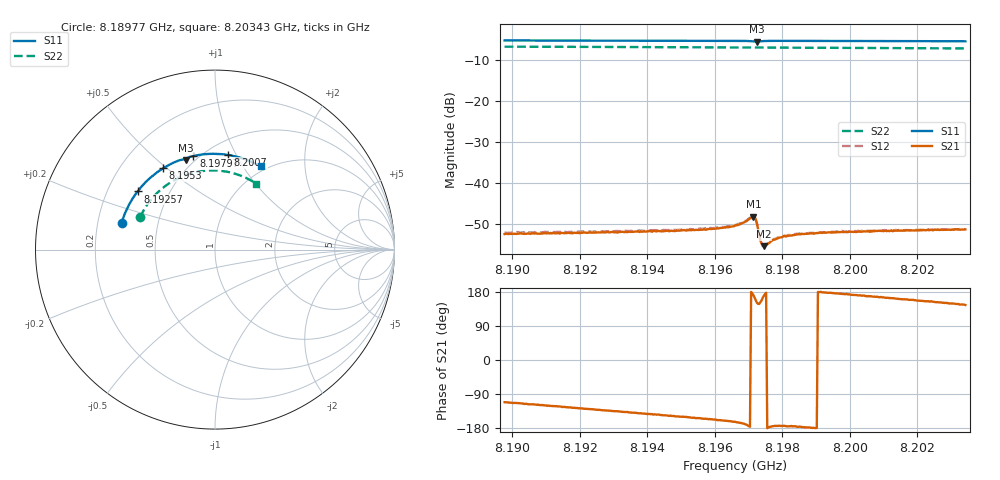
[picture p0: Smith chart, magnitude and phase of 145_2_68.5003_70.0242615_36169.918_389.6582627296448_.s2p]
#  HZ  S  RI  R  50.00
! Rohde & Schwarz Vector Network Analyzer
! Rohde-Schwarz,ZNB20-2Port,1311601062101988,3.16
! Created: UTC 3/20/2024, 4:55:02 PM
! freq[Hz]  re:S11  im:S11  re:S21  im:S21  re:S12  im:S12  re:S22  im:S22
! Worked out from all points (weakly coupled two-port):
!   401 points, 8.18977 GHz to 8.20343 GHz, reference 50 ohm
!   highest |S21| = -48.24 dB at 8.19715 GHz (marker M1); lowest = -55.4 dB at 8.19746 GHz (marker M2)
!   lowest |S11| = -5.6 dB at 8.19725 GHz (marker M3), VSWR 3.19, Z = 22.7 + j31 ohm
!   |S11| at or under -10 dB: nowhere
!   |S22| runs from -7.3 to -6.8 dB; largest |S21 - S12| = 0.00019
!   S11 on the Smith chart (normalised r, x): 8.18977 GHz: 0.30, +0.13; 8.19257 GHz: 0.33, +0.30; 8.1953 GHz: 0.38, +0.48; 8.19797 GHz: 0.47, +0.68; 8.2007 GHz: 0.63, +0.93; 8.20343 GHz: 0.94, +1.20
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8.189773e9  -0.5201 0.1496  -0.000867 -0.00222  -0.00092 -0.00229  -0.4177 0.1799
8.192061e9  -0.4524 0.2948  -0.0015 -0.00195  -0.00162 -0.002  -0.3497 0.2865
8.192573e9  -0.4316 0.3241  -0.00165 -0.00187  -0.00176 -0.00188  -0.3305 0.3075
8.194348e9  -0.3447 0.4136  -0.0021 -0.00151  -0.00222 -0.00147  -0.2543 0.3701
8.195305e9  -0.2898 0.453  -0.00235 -0.00123  -0.00247 -0.0012  -0.2078 0.3963
8.196226e9  -0.2319 0.4841  -0.00266 -0.001  -0.00275 -0.000931  -0.1601 0.4164
8.196602e9  -0.2066 0.4946  -0.00289 -0.000885  -0.00296 -0.000755  -0.1401 0.4227
8.196841e9  -0.1895 0.5002  -0.00318 -0.000705  -0.00328 -0.000567  -0.1271 0.4265
8.19708e9  -0.1698 0.5022  -0.00372 1.99e-05  -0.00382 0.000145  -0.114 0.4297
8.197148e9  -0.165 0.5  -0.00383 0.000608  -0.00387 0.000779  -0.1102 0.4304
8.197217e9  -0.1634 0.497  -0.00332 0.00137  -0.00332 0.00154  -0.1066 0.4311
8.197251e9  -0.1641 0.4965  -0.00282 0.00153  -0.00279 0.00167  -0.1047 0.4314
8.197353e9  -0.1639 0.5022  -0.00176 0.000929  -0.00175 0.00102  -0.0992 0.4328
8.197387e9  -0.1623 0.5046  -0.00169 0.000718  -0.00166 0.000795  -0.0974 0.4332
8.197456e9  -0.1577 0.5084  -0.00167 0.000315  -0.00171 0.000358  -0.0937 0.4341
8.19749e9  -0.1552 0.5099  -0.00171 0.000183  -0.00173 0.000254  -0.0918 0.4343
8.197968e9  -0.1201 0.5215  -0.00216 -0.000218  -0.00222 -0.000146  -0.0651 0.4384
8.198446e9  -0.0861 0.528  -0.00236 -0.000151  -0.00241 -6.85e-05  -0.0383 0.4407
8.19889e9  -0.0546 0.5317  -0.00245 -3.03e-05  -0.00247 4.93e-05  -0.013 0.4413
8.2007e9  0.0734 0.5274  -0.00254 0.000584  -0.00254 0.000678  0.0886 0.4291
8.201178e9  0.1066 0.521  -0.00247 0.000732  -0.00252 0.000857  0.115 0.4219
8.203431e9  0.2546 0.4634  -0.00222 0.00155  -0.00222 0.0016  0.2309 0.3659
